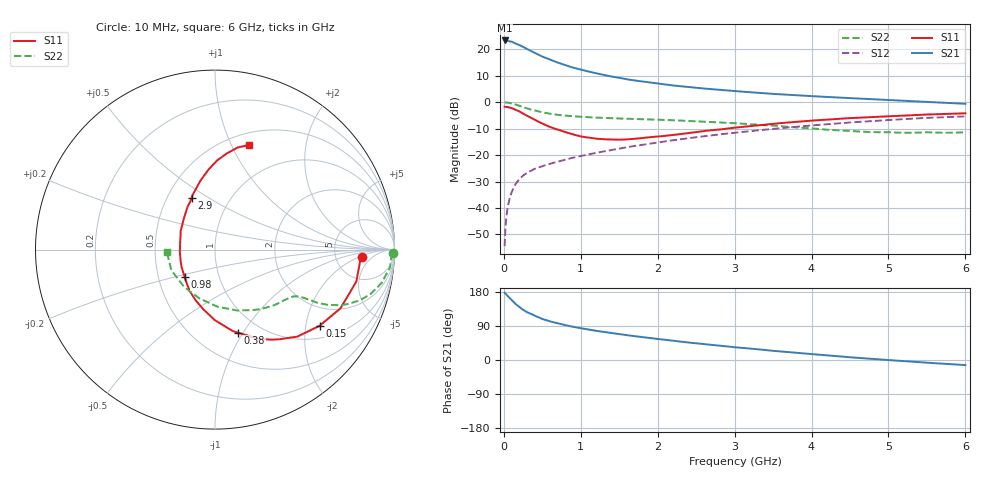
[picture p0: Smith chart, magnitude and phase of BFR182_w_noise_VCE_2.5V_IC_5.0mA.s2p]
! Infineon Technologies  Discrete & RF Semiconductors
! BFR182
! VCE =  2.5 V,  IC =  5.0 mA
! Common Emitter S-Parameters:  Nov 2015
# GHz  S  MA  R  50
!  f  S11  S21  S12  S22
! GHz  MAG  ANG  MAG  ANG  MAG  ANG  MAG  ANG
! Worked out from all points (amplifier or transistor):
!   210 points, 10 MHz to 6 GHz, reference 50 ohm
!   highest |S21| = 23.3 dB at 10 MHz (marker M1)
!   |S21| within 3 dB of that: start of sweep to 286.9 MHz
!   unconditionally stable (mu >= 1): 1.058 GHz to 2.829 GHz
!   at 185 MHz: K = 0.33, MSG = 25.7 dB, |S12| = -29.7 dB
!   at 1.52 GHz: K = 1.06, MAG = 11.7 dB, |S12| = -17.5 dB
!   at 6 GHz: K = 0.89, MSG = 2.4 dB, |S12| = -5.4 dB
!   lowest NFmin = 1.20 dB at 450 MHz
!   S11 on the Smith chart (normalised r, x): 10 MHz: 9.56, -2.25; 150 MHz: 1.35, -2.39; 380 MHz: 0.79, -0.95; 980 MHz: 0.68, -0.22; 2.9 GHz: 0.66, +0.42; 6 GHz: 0.63, +1.17
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0.01  0.8198 -2.7  14.57 177.8  0.0019 90.7  0.9912 -1.2
0.02  0.8106 -4.9  14.33 175.3  0.004 85.6  0.9842 -2.4
0.04  0.8068 -10.1  14.25 171.1  0.0082 84.7  0.9809 -4.7
0.1  0.772 -25.1  13.86 158.5  0.0195 76.9  0.9471 -11.3
0.15  0.7207 -36.1  12.83 148.3  0.0279 71.5  0.9009 -16.0
0.2  0.6674 -46.6  12.01 140.1  0.0348 68.3  0.8536 -19.4
0.24  0.6171 -54.0  11.23 134.0  0.0397 65.5  0.8138 -21.5
0.3  0.5541 -63.9  10.07 126.3  0.0459 63.5  0.7595 -24.1
0.38  0.4806 -74.5  8.792 119.0  0.053 61.1  0.7061 -25.8
0.4  0.4653 -77.6  8.5 116.8  0.0548 60.6  0.6929 -26.3
0.5  0.393 -90.2  7.236 108.2  0.0615 59.7  0.6392 -27.5
0.6  0.3387 -101.1  6.324 101.9  0.0684 59.7  0.6004 -27.9
0.8  0.2708 -121.3  4.954 91.9  0.082 59.9  0.5544 -28.7
0.98  0.2283 -137.8  4.167 84.6  0.0941 60.9  0.5303 -29.5
1.02  0.2219 -141.8  4.03 83.2  0.0969 61.1  0.5257 -29.7
1.4  0.1969 -176.2  3.036 71.1  0.1243 62.1  0.4952 -32.7
2.02  0.2247 145.7  2.217 55.0  0.175 60.9  0.4634 -40.0
2.9  0.3152 114.5  1.658 35.9  0.2541 55.8  0.4068 -55.4
3.1  0.3397 110.1  1.573 32.0  0.2728 54.0  0.3902 -59.8
4.1  0.456 93.4  1.271 13.9  0.3714 44.1  0.3093 -91.0
5.1  0.5483 81.8  1.078 -1.6  0.4674 31.7  0.2655 -135.1
6  0.6132 72.0  0.928 -13.5  0.5362 18.9  0.2691 -177.7
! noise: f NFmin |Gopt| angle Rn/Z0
0.45  1.2  0.27  37  0.3
0.9  1.3  0.25  75  0.23
1.8  1.9  0.21  145  0.2
